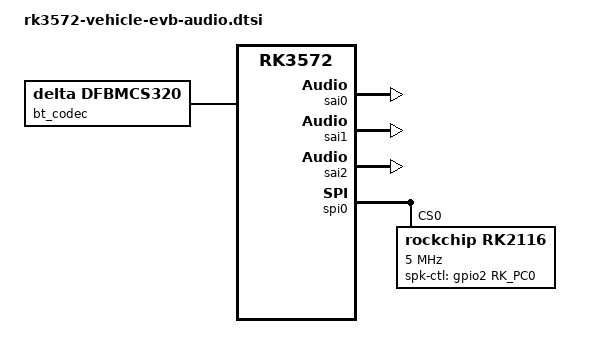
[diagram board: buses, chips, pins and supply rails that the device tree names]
// SPDX-License-Identifier: (GPL-2.0+ OR MIT)
/*
 * Copyright (c) 2026 Rockchip Electronics Co., Ltd.
 *
 */

/ {
	dummy_codec: dummy-codec {
		status = "okay";
		compatible = "rockchip,dummy-codec";
		#sound-dai-cells = <0>;
	};

	bt_codec: bt-codec {
		compatible = "delta,dfbmcs320";
		#sound-dai-cells = <1>;
		status = "okay";
	};

	sound0 {
		status = "okay";
		compatible = "simple-audio-card";
		simple-audio-card,name = "rockchip,ivi";
		simple-audio-card,format = "i2s";
		simple-audio-card,mclk-fs = <256>;
		simple-audio-card,cpu {
			sound-dai = <&sai1>;
			dai-tdm-slot-num = <2>;
			dai-tdm-slot-width = <32>;
		};
		simple-audio-card,codec {
			sound-dai = <&rk2116>;
		};
	};

	sound1 {
		status = "okay";
		compatible = "simple-audio-card";
		simple-audio-card,name = "rockchip,cluster";
		simple-audio-card,format = "i2s";
		simple-audio-card,mclk-fs = <256>;
		simple-audio-card,cpu {
			sound-dai = <&sai0>;
			dai-tdm-slot-num = <2>;
			dai-tdm-slot-width = <32>;
		};
		simple-audio-card,codec {
			sound-dai = <&dummy_codec>;
		};
	};

	sound2 {
		compatible = "simple-audio-card";
		simple-audio-card,format = "dsp_a";
		simple-audio-card,bitclock-inversion;
		simple-audio-card,mclk-fs = <256>;
		simple-audio-card,name = "rockchip,bt";
		simple-audio-card,cpu {
			sound-dai = <&sai2>;
		};
		simple-audio-card,codec {
			sound-dai = <&bt_codec 1>;
		};
	};
};

&sai0 {
	status = "okay";
	pinctrl-names = "default";
	pinctrl-0 = <&sai0m2_lrck_pins
			&sai0m2_sclk_pins
			&sai0m2_sdo0_pins>;
};

&sai1 {
	status = "okay";
	rockchip,tdm-tx-lanes = <1>;
	rockchip,tdm-rx-lanes = <1>;
	rockchip,sai-rx-route = <2 3 0 1>;
	pinctrl-names = "default";
	pinctrl-0 = <&sai1m0_lrck_pins
			&sai1m0_sclk_pins
			&sai1m0_sdi2_pins
			&sai1m0_sdo0_pins
			&sai1m0_sdo1_pins>;
};

&sai2 {
	status = "okay";
	pinctrl-names = "default";
	pinctrl-0 = <&sai2m0_lrck_pins
			&sai2m0_sclk_pins
			&sai2m0_sdi_pins
			&sai2m0_sdo_pins>;
};

&spi0 {
	status = "okay";
	pinctrl-names = "default";
	pinctrl-0 = <&spi0m0_csn0_pins &spi0m0_pins>;

	/*
	 * RK2116 multifunction SPI device (Audio Codec + embedded SPI NOR Flash)
	 *
	 * - "rockchip,rk2116" : Dedicated audio driver for normal operation.
	 * - "jedec,spi-nor"   : Generic SPI NOR Flash driver for firmware upgrade.
	 *
	 * Driver switch    : Performed at runtime via sysfs bind/unbind.
	 */
	rk2116: rk2116@0 {
		status = "okay";
		compatible = "rockchip,rk2116", "jedec,spi-nor";
		spi-max-frequency = <5000000>;
		reg = <0>;

		#sound-dai-cells = <0>;
		spk-ctl-gpios = <&gpio2 RK_PC0 GPIO_ACTIVE_HIGH>;
	};
};
